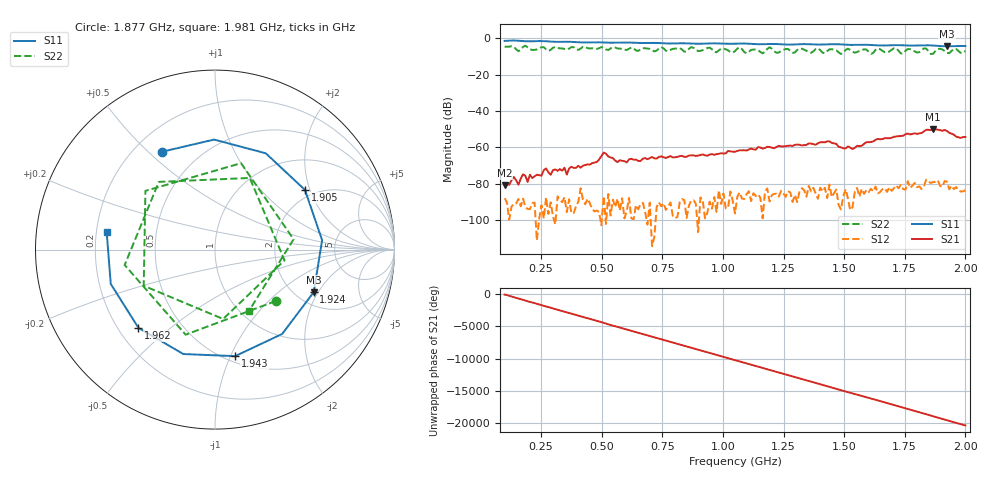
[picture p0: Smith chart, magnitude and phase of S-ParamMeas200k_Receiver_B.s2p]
!Keysight Technologies,N5242B,MY48420967,A.15.65.19
!Date: Saturday, February 04, 2023 11:40:00
!Correction: S11(C  1-Port  )
!S21(Off)
!S12(Off)
!S22(Off)
!S2P File: Measurements: S11, S21, S12, S22:
# Hz S  dB  R 50
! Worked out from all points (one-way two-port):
!   201 points, 100 MHz to 2 GHz, reference 50 ohm
!   highest |S21| = -50.05 dB at 1.867 GHz (marker M1); lowest = -80.9 dB at 100 MHz (marker M2)
!   lowest |S11| = -4.5 dB at 1.924 GHz (marker M3), VSWR 3.99, Z = 124 - j91.7 ohm
!   |S11| at or under -10 dB: nowhere
!   |S22| runs from -8.7 to -4.2 dB; largest |S21 - S12| = 0.0032
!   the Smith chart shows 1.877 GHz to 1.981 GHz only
!   S11 on the Smith chart (normalised r, x): 1.877 GHz: 0.31, +0.55; 1.905 GHz: 1.78, +1.85; 1.924 GHz: 2.48, -1.83; 1.943 GHz: 0.56, -1.04; 1.962 GHz: 0.28, -0.39; 1.981 GHz: 0.24, +0.08
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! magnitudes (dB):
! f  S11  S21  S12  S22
! 100 MHz  -1.5  -80.9  -87.9  -4.7
! 157 MHz  -1.4  -80.4  -88.4  -7.2
! 176 MHz  -1.6  -74.8  -88.2  -4.8
! 195 MHz  -1.7  -79.0  -93.8  -5.0
! 271 MHz  -1.7  -71.6  -87.5  -6.1
! 356.5 MHz  -2.0  -75.0  -95.6  -6.2
! 423 MHz  -2.4  -70.1  -88.7  -4.7
! 508.5 MHz  -2.4  -62.8  -86.8  -5.2
! 565.5 MHz  -2.4  -68.1  -88.2  -5.7
! 736.5 MHz  -2.7  -65.2  -90.2  -5.6
! 1.05 GHz  -3.0  -62.4  -96.2  -7.1
! 1.373 GHz  -3.4  -58.2  -82.2  -7.3
! 1.534 GHz  -3.7  -60.9  -92.9  -7.5
! 1.687 GHz  -3.9  -55.0  -81.8  -7.3
! 1.867 GHz  -4.1  -50.0  -79.0  -8.6
! 1.877 GHz  -4.2  -50.1  -79.0  -7.0
! 1.905 GHz  -4.4  -50.9  -81.7  -6.2
! 1.924 GHz  -4.5  -51.0  -78.8  -8.1
! 1.943 GHz  -4.4  -52.4  -81.1  -7.0
! 1.962 GHz  -4.3  -54.1  -81.8  -6.0
! 1.981 GHz  -4.3  -54.7  -84.2  -8.1
! 2 GHz  -4.4  -54.3  -83.5  -7.0
